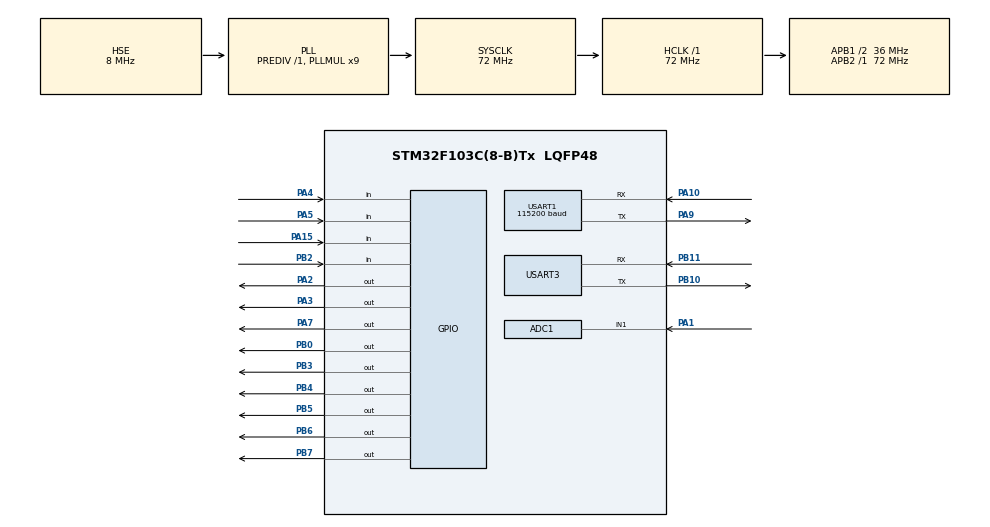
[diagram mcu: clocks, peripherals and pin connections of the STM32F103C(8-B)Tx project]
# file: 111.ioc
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ADC1.Channel-0\#ChannelRegularConversion=ADC_CHANNEL_1
ADC1.ContinuousConvMode=ENABLE
ADC1.NbrOfConversionFlag=1
ADC1.Rank-0\#ChannelRegularConversion=1
ADC1.SamplingTime-0\#ChannelRegularConversion=ADC_SAMPLETIME_1CYCLE_5
ADC1.master=1
Mcu.Family=STM32F1
Mcu.Name=STM32F103C(8-B)Tx
Mcu.Package=LQFP48
NVIC.PriorityGroup=NVIC_PRIORITYGROUP_4
NVIC.TIM2_IRQn=true\:0\:0\:true\:false\:true\:true\:true\:true
NVIC.TIM3_IRQn=true\:1\:0\:true\:false\:true\:true\:true\:true
NVIC.USART1_IRQn=true\:2\:0\:true\:false\:true\:true\:true\:true
NVIC.USART3_IRQn=true\:2\:0\:true\:false\:true\:true\:true\:true
PA1.Signal=ADCx_IN1
PA10.Mode=Asynchronous
PA10.Signal=USART1_RX
PA13.Mode=Serial_Wire
PA13.Signal=SYS_JTMS-SWDIO
PA14.Mode=Serial_Wire
PA14.Signal=SYS_JTCK-SWCLK
PA15.GPIO_PuPd=GPIO_PULLDOWN
PA15.Signal=GPIO_Input
PA2.GPIO_ModeDefaultOutputPP=GPIO_MODE_OUTPUT_PP
PA2.GPIO_PuPd=GPIO_PULLDOWN
PA2.PinState=GPIO_PIN_RESET
PA2.Signal=GPIO_Output
PA3.GPIO_ModeDefaultOutputPP=GPIO_MODE_OUTPUT_PP
PA3.GPIO_PuPd=GPIO_PULLUP
PA3.GPIO_Speed=GPIO_SPEED_FREQ_MEDIUM
PA3.PinState=GPIO_PIN_SET
PA3.Signal=GPIO_Output
PA4.GPIO_Mode=GPIO_MODE_INPUT
PA4.GPIO_PuPd=GPIO_NOPULL
PA4.Signal=GPIO_Input
PA5.GPIO_Mode=GPIO_MODE_INPUT
PA5.GPIO_PuPd=GPIO_NOPULL
PA5.Signal=GPIO_Input
PA7.GPIO_ModeDefaultOutputPP=GPIO_MODE_OUTPUT_PP
PA7.GPIO_PuPd=GPIO_PULLUP
PA7.GPIO_Speed=GPIO_SPEED_FREQ_HIGH
PA7.PinState=GPIO_PIN_SET
PA7.Signal=GPIO_Output
PA9.Mode=Asynchronous
PA9.Signal=USART1_TX
PB0.GPIO_ModeDefaultOutputPP=GPIO_MODE_OUTPUT_PP
PB0.GPIO_PuPd=GPIO_PULLUP
PB0.GPIO_Speed=GPIO_SPEED_FREQ_HIGH
PB0.PinState=GPIO_PIN_SET
PB0.Signal=GPIO_Output
PB10.Mode=Asynchronous
PB10.Signal=USART3_TX
PB11.Mode=Asynchronous
PB11.Signal=USART3_RX
PB2.GPIO_Mode=GPIO_MODE_INPUT
PB2.GPIO_PuPd=GPIO_NOPULL
PB2.Signal=GPIO_Input
PB3.GPIO_ModeDefaultOutputPP=GPIO_MODE_OUTPUT_PP
PB3.GPIO_PuPd=GPIO_PULLDOWN
PB3.GPIO_Speed=GPIO_SPEED_FREQ_MEDIUM
PB3.PinState=GPIO_PIN_RESET
PB3.Signal=GPIO_Output
PB4.GPIO_ModeDefaultOutputPP=GPIO_MODE_OUTPUT_PP
PB4.GPIO_PuPd=GPIO_PULLDOWN
PB4.GPIO_Speed=GPIO_SPEED_FREQ_MEDIUM
PB4.PinState=GPIO_PIN_RESET
PB4.Signal=GPIO_Output
PB5.GPIO_ModeDefaultOutputPP=GPIO_MODE_OUTPUT_PP
PB5.GPIO_PuPd=GPIO_PULLDOWN
PB5.GPIO_Speed=GPIO_SPEED_FREQ_MEDIUM
PB5.PinState=GPIO_PIN_RESET
PB5.Signal=GPIO_Output
PB6.GPIO_ModeDefaultOutputPP=GPIO_MODE_OUTPUT_PP
PB6.GPIO_PuPd=GPIO_PULLUP
PB6.GPIO_Speed=GPIO_SPEED_FREQ_HIGH
PB6.PinState=GPIO_PIN_SET
PB6.Signal=GPIO_Output
PB7.GPIO_ModeDefaultOutputPP=GPIO_MODE_OUTPUT_OD
PB7.GPIO_PuPd=GPIO_PULLUP
PB7.GPIO_Speed=GPIO_SPEED_FREQ_HIGH
PB7.PinState=GPIO_PIN_SET
PB7.Signal=GPIO_Output
PD0-OSC_IN.Mode=HSE-External-Oscillator
PD0-OSC_IN.Signal=RCC_OSC_IN
PD1-OSC_OUT.Mode=HSE-External-Oscillator
PD1-OSC_OUT.Signal=RCC_OSC_OUT
ProjectManager.HeapSize=0x200
ProjectManager.StackSize=0x400
ProjectManager.TargetToolchain=MDK-ARM V5.32
RCC.ADCPresc=RCC_ADCPCLK2_DIV6
RCC.AHBFreq_Value=72000000
RCC.APB1CLKDivider=RCC_HCLK_DIV2
RCC.APB1Freq_Value=36000000
RCC.APB1TimFreq_Value=72000000
RCC.APB2Freq_Value=72000000
RCC.APB2TimFreq_Value=72000000
RCC.HCLKFreq_Value=72000000
RCC.PLLMUL=RCC_PLL_MUL9
RCC.PLLSourceVirtual=RCC_PLLSOURCE_HSE
RCC.SYSCLKFreq_VALUE=72000000
RCC.SYSCLKSource=RCC_SYSCLKSOURCE_PLLCLK
RCC.USBFreq_Value=72000000
SH.ADCx_IN1.0=ADC1_IN1,IN1
TIM2.Period=1000-1
TIM2.Prescaler=72-1
TIM3.AutoReloadPreload=TIM_AUTORELOAD_PRELOAD_ENABLE
TIM3.Period=6000-1
TIM3.Prescaler=3000-1
TIM3.TIM_MasterOutputTrigger=TIM_TRGO_UPDATE
USART1.BaudRate=115200
USART1.VirtualMode=VM_ASYNC
USART3.VirtualMode=VM_ASYNC
VP_TIM2_VS_ClockSourceINT.Mode=Internal
VP_TIM3_VS_ClockSourceINT.Mode=Internal
board=custom

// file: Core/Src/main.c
/* USER CODE BEGIN Header */
/**
  ******************************************************************************
  * @file           : main.c
  * @brief          : Main program body
  ******************************************************************************
  * @attention
  *
  * Copyright (c) 2025 STMicroelectronics.
  * All rights reserved.
  *
  * This software is licensed under terms that can be found in the LICENSE file
  * in the root directory of this software component.
  * If no LICENSE file comes with this software, it is provided AS-IS.
  *
  ******************************************************************************
  */
/* USER CODE END Header */
#include "main.h"
#include "adc.h"
#include "tim.h"
#include "usart.h"
#include "gpio.h"

/* USER CODE BEGIN Includes */
#include "pwr.h"
#include "force.h"
#include "mpu6050.h"
#include "inv_mpu.h"
#include "oled.h"

/* USER CODE END Includes */

/* USER CODE BEGIN PTD */
uint8_t Res=0;
uint8_t Key_flag=0;
uint8_t BLE_flag=0;
uint32_t LL_value = 0;
uint8_t Page=1;
int16_t Sleep_flag=1;
float Update_value = 0;
float DC_value = 0;
int oled_value=0;
extern uint32_t First_value;
extern int Strength_value;
extern unsigned long current_value;
/* USER CODE END PTD */

void SystemClock_Config(void);

int main(void)
{
  /* USER CODE BEGIN 1 */
    uint8_t ret;
    float pit, rol, yaw;

  /* USER CODE END 1 */

  /* MCU Configuration--------------------------------------------------------*/

  /* Reset of all peripherals, Initializes the Flash interface and the Systick. */
  HAL_Init();

  /* Configure the system clock */
  SystemClock_Config();

  /* Initialize all configured peripherals */
  MX_GPIO_Init();
  MX_USART3_UART_Init();
  MX_TIM2_Init();
  MX_USART1_UART_Init();
  MX_TIM3_Init();
  MX_ADC1_Init();
  /* USER CODE BEGIN 2 */

/*串口*/
//	HAL_UART_Receive_IT(&huart3,&Res,1);
//	UsartPrintf(&huart3,"P1 TEST\r\n");

/*外设电源开关 HX711 蓝牙 OLED*/

	HAL_GPIO_WritePin(GPIOA,GPIO_PIN_3,GPIO_PIN_SET);//1开0关

/*ADC 电量检测*/
	HAL_GPIO_WritePin(GPIOA,GPIO_PIN_2,GPIO_PIN_RESET);//0开1关

/*定时器  250ms*/
	HAL_TIM_Base_Start_IT(&htim3);

/*HX711*/
	Hx711_run_set();

/*OLED*/
	OLED_Init();
	Page=1;
	OLED_ShowString(1, 1, "Dev P1 TEST");

/*MPU6050*/
	HAL_GPIO_WritePin(GPIOB,GPIO_PIN_4,GPIO_PIN_RESET);
	HAL_GPIO_WritePin(GPIOB,GPIO_PIN_5,GPIO_PIN_RESET);
	ret = atk_ms6050_init();
  if (ret != 0)
  {
		UsartPrintf(&huart3,"ATK-MS6050 init failed!\r\n");
		OLED_ShowString(2, 1, "6050 init error");
		while (1){};
  }else
	{
		UsartPrintf(&huart3,"ATK-MS6050 init OK!\r\n");
		OLED_ShowString(2, 1, "6050 init OK");
	}

  /* 初始化ATK-MS6050 DMP */
  ret = atk_ms6050_dmp_init();
  if (ret != 0)
  {
		UsartPrintf(&huart3,"ATK-MS6050 DMP init failed!\r\n");
		OLED_ShowString(3, 1, "DMP  init error");
//		while (1){};
  }else
	{
		UsartPrintf(&huart3,"ATK-MS6050 DMP init OK!\r\n");
		OLED_ShowString(3, 1, "DMP  init OK");
	}

	delay_ms(1000);
	OLED_Clear();

  /* USER CODE END 2 */

  /* Infinite loop */
  /* USER CODE BEGIN WHILE */
  while (1)
  {
		Key_read();
		if(Key_flag==1){
			Page++;
			Sleep_flag=0;
			delay_ms(100);
			Hx711_run_set();
			OLED_Clear();
			if(Page>=4)
				Page=1;
		}else if(Key_flag==2){
			Page--;
			Sleep_flag=0;
			delay_ms(100);
			Hx711_run_set();
			if(Page<=0)
				Page=3;
			OLED_Clear();
		}

		Sleep_flag++;
		if(Sleep_flag>=2000)
		{
			OLED_Clear();
			Page=9;
		}
//		UsartPrintf(&huart3,"Sleep_flag:%d\r\n",Sleep_flag);

		Key_flag=0;
		BLE_flag=HAL_GPIO_ReadPin(GPIOB,GPIO_PIN_2);

			if(BLE_flag==1){
					if(Page==1){
						UsartPrintf(&huart3,"Page:    %d\r\n",Page);
						if(ret>=80) ret=0;
						OLED_ShowString(1, 1, "Dev P1 Work");
						OLED_ShowString(2, 1, "Power (%):");
						DC_value=ADC_value_get()*200.0/4.2;
						OLED_ShowFNum(2,10,DC_value, 3, 1);
						if(DC_value<70)
							OLED_ShowString(3, 1, "Power no enough");
						delay_ms(200);
					}else if(Page==2){
						LL_value=Get_Strength()+100;
						Update_value=LL_value/50.0;
						LL_value=(int)Update_value;
						Update_value=(Update_value-1783.3)/5.62;
						UsartPrintf(&huart3,"val:%.2f\r\n",Update_value);
						OLED_ShowString(1, 1, "Val (N):");
						OLED_ShowFNum(1,10, (float)(int)LL_value, 5, 1);
						OLED_ShowProgressBar((int)LL_value/100);
						delay_ms(100);
					}else if(Page==3){
						UsartPrintf(&huart3,"Page:    %d\r\n",Page);
						UsartPrintf(&huart3,"--------------------\r\n");
						ret  = atk_ms6050_dmp_get_data(&pit, &rol, &yaw);
						if (ret == 0)
						{
							OLED_Clear();
							if((rol>115)|(rol<98))
							{
								UsartPrintf(&huart3,"姿势有误，请纠正\r\n",rol);
								OLED_ShowString(1, 1, "ERROR  ERROR  ERROR");
								OLED_ShowString(2, 1, "ERROR  ERROR  ERROR");
								OLED_ShowString(3, 1, "ERROR  ERROR  ERROR");
								OLED_ShowString(4, 1, "ERROR  ERROR  ERROR");
							}else
							{
								UsartPrintf(&huart3,"Rol:     %.2f\r\n",rol);
								OLED_ShowString(2, 1, "Rol:");
								OLED_ShowFNum(2,6,rol, 4, 1);
							}
						}
						delay_ms(100);
					}else if(Page==9){
						OLED_ShowString(1, 1, "DEV Sleep");
						delay_ms(200);
					}
				}

    /* USER CODE END WHILE */

  }
}

void SystemClock_Config(void)
{
  RCC_OscInitTypeDef RCC_OscInitStruct = {0};
  RCC_ClkInitTypeDef RCC_ClkInitStruct = {0};
  RCC_PeriphCLKInitTypeDef PeriphClkInit = {0};

  /** Initializes the RCC Oscillators according to the specified parameters
  * in the RCC_OscInitTypeDef structure.
  */
  RCC_OscInitStruct.OscillatorType = RCC_OSCILLATORTYPE_HSE;
  RCC_OscInitStruct.HSEState = RCC_HSE_ON;
  RCC_OscInitStruct.HSEPredivValue = RCC_HSE_PREDIV_DIV1;
  RCC_OscInitStruct.HSIState = RCC_HSI_ON;
  RCC_OscInitStruct.PLL.PLLState = RCC_PLL_ON;
  RCC_OscInitStruct.PLL.PLLSource = RCC_PLLSOURCE_HSE;
  RCC_OscInitStruct.PLL.PLLMUL = RCC_PLL_MUL9;
  if (HAL_RCC_OscConfig(&RCC_OscInitStruct) != HAL_OK)
  {
    Error_Handler();
  }

  /** Initializes the CPU, AHB and APB buses clocks
  */
  RCC_ClkInitStruct.ClockType = RCC_CLOCKTYPE_HCLK|RCC_CLOCKTYPE_SYSCLK
                              |RCC_CLOCKTYPE_PCLK1|RCC_CLOCKTYPE_PCLK2;
  RCC_ClkInitStruct.SYSCLKSource = RCC_SYSCLKSOURCE_PLLCLK;
  RCC_ClkInitStruct.AHBCLKDivider = RCC_SYSCLK_DIV1;
  RCC_ClkInitStruct.APB1CLKDivider = RCC_HCLK_DIV2;
  RCC_ClkInitStruct.APB2CLKDivider = RCC_HCLK_DIV1;

  if (HAL_RCC_ClockConfig(&RCC_ClkInitStruct, FLASH_LATENCY_2) != HAL_OK)
  {
    Error_Handler();
  }
  PeriphClkInit.PeriphClockSelection = RCC_PERIPHCLK_ADC;
  PeriphClkInit.AdcClockSelection = RCC_ADCPCLK2_DIV6;
  if (HAL_RCCEx_PeriphCLKConfig(&PeriphClkInit) != HAL_OK)
  {
    Error_Handler();
  }
}

void Error_Handler(void)
{
  __disable_irq();
  while (1)
  {
  }
}
